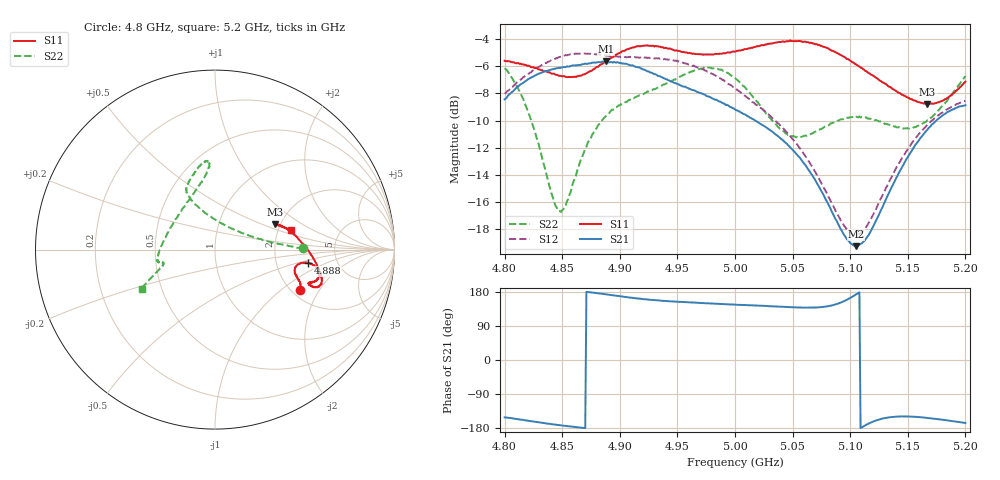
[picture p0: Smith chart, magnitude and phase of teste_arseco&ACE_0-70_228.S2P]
! Network Analyzer HP8722D
! Hewlett-Packard
! Data name: Linha & Wilkinson
! Saver's name: Rodrigo Anjos
! Comments: Teste da utilização de aquisição
! continua pelo VNA HP8722D
! Time and date: 8/5/2025 14:39
!  Frequency  S11  S21  S12  S22
# HZ  S  MA R 50
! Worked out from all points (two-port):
!   401 points, 4.8 GHz to 5.2 GHz, reference 50 ohm
!   highest |S21| = -5.63 dB at 4.888 GHz (marker M1); lowest = -19.3 dB at 5.105 GHz (marker M2)
!   |S21| within 3 dB of the highest: start of sweep to 4.988 GHz
!   lowest |S11| = -8.8 dB at 5.167 GHz (marker M3), VSWR 2.14, Z = 93.9 + j30.7 ohm
!   |S11| at or under -10 dB: nowhere
!   |S22| runs from -16.7 to -6.1 dB; largest |S21 - S12| = 1.1
!   S11 on the Smith chart (normalised r, x): 4.8 GHz: 2.23, -1.37; 4.888 GHz: 3.05, -0.63; 5.2 GHz: 2.36, +0.65
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4.8e9  0.5257 -25.1  0.3787 -151.4  0.3969 7.9  0.4931 0.8
4.811e9  0.515 -22.1  0.42 -156.1  0.4379 6.4  0.4201 2.7
4.82e9  0.5033 -20.6  0.4482 -160.0  0.4693 4.9  0.3447 5.9
4.846e9  0.4656 -16.4  0.4932 -171.5  0.5385 0.7  0.1483 53.6
4.853e9  0.4583 -14.8  0.4977 -173.8  0.5517 -0.3  0.1536 80.4
4.867e9  0.4645 -10.9  0.5099 -178.8  0.558 -2.5  0.2296 108.6
4.888e9  0.523 -8.2  0.5231 173.3  0.5489 -3.6  0.3284 116.1
4.913e9  0.5901 -12.0  0.5011 163.2  0.5426 -2.8  0.3851 114.0
4.934e9  0.5924 -16.4  0.4613 156.9  0.5374 -3.5  0.4204 108.4
4.975e9  0.5544 -19.8  0.3903 149.7  0.4832 -7.1  0.4956 95.9
5e9  0.5678 -20.6  0.3479 146.0  0.4179 -7.0  0.4543 94.7
5.018e9  0.5924 -20.6  0.3151 143.8  0.3622 -4.3  0.3764 102.8
5.044e9  0.6192 -18.7  0.2619 140.1  0.2887 1.3  0.2833 132.3
5.067e9  0.6102 -14.1  0.1991 138.4  0.2141 8.6  0.2834 165.0
5.094e9  0.5448 -4.2  0.1211 154.4  0.1309 34.1  0.3199 -173.2
5.105e9  0.5096 0.9  0.1088 173.1  0.1196 55.2  0.3267 -169.4
5.116e9  0.4734 6.3  0.1196 -167.9  0.1326 76.1  0.3222 -167.5
5.134e9  0.4213 15.2  0.1723 -151.3  0.1886 94.3  0.3051 -166.4
5.152e9  0.3801 21.3  0.2394 -149.2  0.2552 99.4  0.2953 -164.8
5.167e9  0.3638 22.9  0.2924 -152.6  0.3052 100.1  0.3171 -161.6
5.183e9  0.38 20.5  0.3363 -158.8  0.3462 99.9  0.3693 -157.3
5.2e9  0.44 14.6  0.3603 -166.1  0.3747 100.5  0.4615 -151.9
